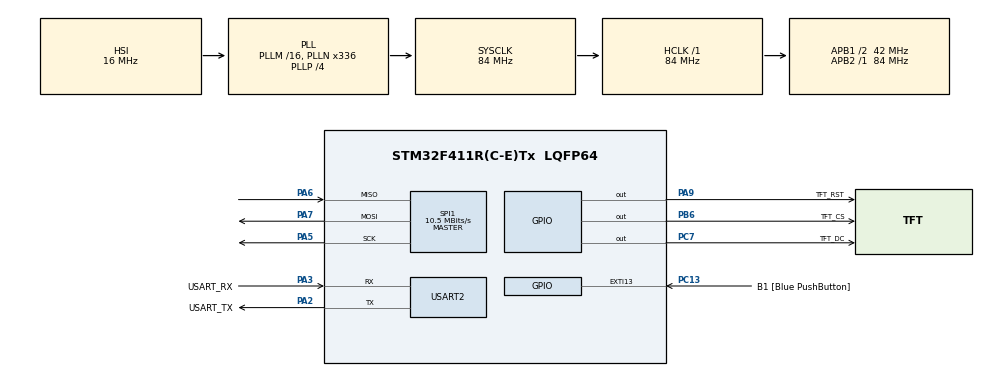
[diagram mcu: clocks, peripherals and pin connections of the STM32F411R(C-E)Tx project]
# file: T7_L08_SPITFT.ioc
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Mcu.Family=STM32F4
Mcu.Name=STM32F411R(C-E)Tx
Mcu.Package=LQFP64
NVIC.PriorityGroup=NVIC_PRIORITYGROUP_0
PA13.GPIO_Label=TMS
PA13.Mode=Serial_Wire
PA13.Signal=SYS_JTMS-SWDIO
PA14.GPIO_Label=TCK
PA14.Mode=Serial_Wire
PA14.Signal=SYS_JTCK-SWCLK
PA2.GPIO_Label=USART_TX
PA2.Mode=Asynchronous
PA2.Signal=USART2_TX
PA3.GPIO_Label=USART_RX
PA3.Mode=Asynchronous
PA3.Signal=USART2_RX
PA5.Mode=Full_Duplex_Master
PA5.Signal=SPI1_SCK
PA6.Mode=Full_Duplex_Master
PA6.Signal=SPI1_MISO
PA7.Mode=Full_Duplex_Master
PA7.Signal=SPI1_MOSI
PA9.GPIO_Label=TFT_RST
PA9.Signal=GPIO_Output
PB3.GPIO_Label=SWO
PB3.Signal=SYS_JTDO-SWO
PB6.GPIO_Label=TFT_CS
PB6.Signal=GPIO_Output
PC13-ANTI_TAMP.GPIO_Label=B1 [Blue PushButton]
PC13-ANTI_TAMP.GPIO_ModeDefaultEXTI=GPIO_MODE_IT_FALLING
PC13-ANTI_TAMP.Signal=GPXTI13
PC14-OSC32_IN.Mode=LSE-External-Oscillator
PC14-OSC32_IN.Signal=RCC_OSC32_IN
PC15-OSC32_OUT.Mode=LSE-External-Oscillator
PC15-OSC32_OUT.Signal=RCC_OSC32_OUT
PC7.GPIO_Label=TFT_DC
PC7.Signal=GPIO_Output
PH0\ -\ OSC_IN.Mode=HSE-External-Clock-Source
PH0\ -\ OSC_IN.Signal=RCC_OSC_IN
PH1\ -\ OSC_OUT.Mode=HSE-External-Clock-Source
PH1\ -\ OSC_OUT.Signal=RCC_OSC_OUT
ProjectManager.HeapSize=0x200
ProjectManager.StackSize=0x400
ProjectManager.TargetToolchain=STM32CubeIDE
RCC.48MHZClocksFreq_Value=84000000
RCC.AHBFreq_Value=84000000
RCC.APB1CLKDivider=RCC_HCLK_DIV2
RCC.APB1Freq_Value=42000000
RCC.APB1TimFreq_Value=84000000
RCC.APB2Freq_Value=84000000
RCC.APB2TimFreq_Value=84000000
RCC.CortexFreq_Value=84000000
RCC.FLatency-AdvancedSettings=FLASH_LATENCY_2
RCC.HCLKFreq_Value=84000000
RCC.HSE_VALUE=8000000
RCC.HSI_VALUE=16000000
RCC.PLLN=336
RCC.PLLP=RCC_PLLP_DIV4
RCC.SYSCLKFreq_VALUE=84000000
RCC.SYSCLKSource=RCC_SYSCLKSOURCE_PLLCLK
RCC.VCOOutputFreq_Value=336000000
SPI1.BaudRatePrescaler=SPI_BAUDRATEPRESCALER_8
SPI1.CalculateBaudRate=10.5 MBits/s
SPI1.Direction=SPI_DIRECTION_2LINES
SPI1.Mode=SPI_MODE_MASTER
SPI1.VirtualType=VM_MASTER
USART2.VirtualMode=VM_ASYNC
board=NUCLEO-F411RE

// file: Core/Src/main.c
/* USER CODE BEGIN Header */
/**
  ******************************************************************************
  * @file           : main.c
  * @brief          : Main program body
  ******************************************************************************
  * @attention
  *
  * <h2><center>&copy; Copyright (c) 2020 STMicroelectronics.
  * All rights reserved.</center></h2>
  *
  * This software component is licensed by ST under BSD 3-Clause license,
  * the "License"; You may not use this file except in compliance with the
  * License. You may obtain a copy of the License at:
  *                        opensource.org/licenses/BSD-3-Clause
  *
  ******************************************************************************
  */
/* USER CODE END Header */
#include "main.h"
#include "spi.h"
#include "usart.h"
#include "gpio.h"

/* USER CODE BEGIN Includes */
#include "TFT_ILI9341.h"
#include "GFX_Color.h"
#include "fonts/fonts.h"
#include "logo.h"
#include "GFX_EnhancedFonts.h"
#include "EnhancedFonts/arialBlack_20ptFontInfo.h"
#include "string.h"
#include "stdio.h"
/* USER CODE END Includes */

/* USER CODE BEGIN PV */
uint8_t Msg[32];
/* USER CODE END PV */

void SystemClock_Config(void);

int main(void)
{

  /* MCU Configuration--------------------------------------------------------*/

  /* Reset of all peripherals, Initializes the Flash interface and the Systick. */
  HAL_Init();

  /* Configure the system clock */
  SystemClock_Config();

  /* Initialize all configured peripherals */
  MX_GPIO_Init();
  MX_USART2_UART_Init();
  MX_SPI1_Init();
  /* USER CODE BEGIN 2 */

  ILI9341_Init(&hspi1);

  GFX_SetFont(font_8x5);
  EF_SetFont(&arialBlack_20ptFontInfo);

//  for(uint16_t i = 0; i < ILI9341_TFTWIDTH; i++)
//  {
//	  for(uint16_t j = 0; j < ILI9341_TFTHEIGHT; j++)
//	  {
//		  ILI9341_WritePixel(i, j, ILI9341_BLUE);
//	  }
//  }
  ILI9341_ClearDisplay(ILI9341_WHITE);

  ILI9341_DrawImage(0, 50, logo, 240, 72);

//  uint8_t Len = sprintf(Msg, "Nóż");

  EF_PutString("NÓŻ pękł w ręce", 0, 150, ILI9341_BLACK, BG_TRANSPARENT, ILI9341_WHITE);

  /* USER CODE END 2 */

  /* Infinite loop */
  while (1)
  {

  }
}

void SystemClock_Config(void)
{
  RCC_OscInitTypeDef RCC_OscInitStruct = {0};
  RCC_ClkInitTypeDef RCC_ClkInitStruct = {0};

  /** Configure the main internal regulator output voltage
  */
  __HAL_RCC_PWR_CLK_ENABLE();
  __HAL_PWR_VOLTAGESCALING_CONFIG(PWR_REGULATOR_VOLTAGE_SCALE1);
  /** Initializes the RCC Oscillators according to the specified parameters
  * in the RCC_OscInitTypeDef structure.
  */
  RCC_OscInitStruct.OscillatorType = RCC_OSCILLATORTYPE_HSI;
  RCC_OscInitStruct.HSIState = RCC_HSI_ON;
  RCC_OscInitStruct.HSICalibrationValue = RCC_HSICALIBRATION_DEFAULT;
  RCC_OscInitStruct.PLL.PLLState = RCC_PLL_ON;
  RCC_OscInitStruct.PLL.PLLSource = RCC_PLLSOURCE_HSI;
  RCC_OscInitStruct.PLL.PLLM = 16;
  RCC_OscInitStruct.PLL.PLLN = 336;
  RCC_OscInitStruct.PLL.PLLP = RCC_PLLP_DIV4;
  RCC_OscInitStruct.PLL.PLLQ = 4;
  if (HAL_RCC_OscConfig(&RCC_OscInitStruct) != HAL_OK)
  {
    Error_Handler();
  }
  /** Initializes the CPU, AHB and APB buses clocks
  */
  RCC_ClkInitStruct.ClockType = RCC_CLOCKTYPE_HCLK|RCC_CLOCKTYPE_SYSCLK
                              |RCC_CLOCKTYPE_PCLK1|RCC_CLOCKTYPE_PCLK2;
  RCC_ClkInitStruct.SYSCLKSource = RCC_SYSCLKSOURCE_PLLCLK;
  RCC_ClkInitStruct.AHBCLKDivider = RCC_SYSCLK_DIV1;
  RCC_ClkInitStruct.APB1CLKDivider = RCC_HCLK_DIV2;
  RCC_ClkInitStruct.APB2CLKDivider = RCC_HCLK_DIV1;

  if (HAL_RCC_ClockConfig(&RCC_ClkInitStruct, FLASH_LATENCY_2) != HAL_OK)
  {
    Error_Handler();
  }
}

void Error_Handler(void)
{
}

/************************ (C) COPYRIGHT STMicroelectronics *****END OF FILE****/
